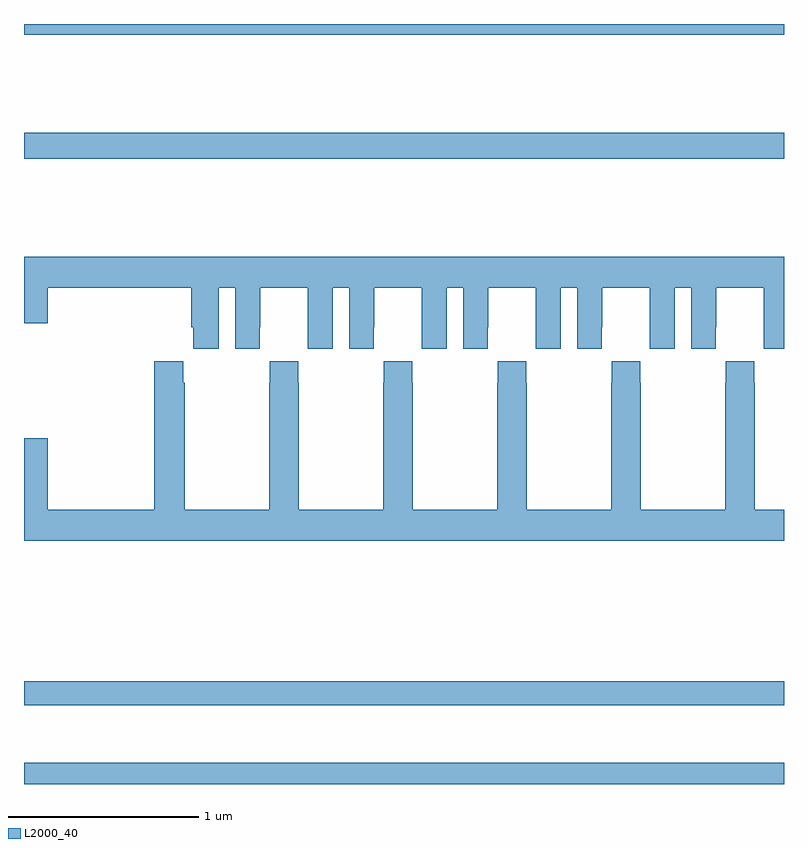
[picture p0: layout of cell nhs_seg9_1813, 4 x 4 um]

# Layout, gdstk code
import gdstk
lib = gdstk.Library(unit=1e-6, precision=1e-09)
def R(c, l, rs):  # rectangles x0, y0, x1, y1
    for r in rs: c.add(gdstk.rectangle(r[:2], r[2:], *l))
def P(c, l, *ps):  # polygons
    for p in ps: c.add(gdstk.Polygon(p, *l))
L2000_40 = (2000, 40)

nhs_seg9_1813 = lib.new_cell('nhs_seg9_1813')
R(nhs_seg9_1813, L2000_40, [(213,1168.5,217,1168.612), (213,1168.914,217,1169.042), (213,1171.792,217,1171.928), (213,1172.444,217,1172.5)])
P(nhs_seg9_1813, L2000_40, [(213,1170.924),(213.124,1170.924),(213.124,1171.112),(213.881,1171.112),(213.881,1170.904),(213.89,1170.904),(213.89,1170.792),(214.024,1170.792),(214.024,1171.112),(214.112,1171.112),(214.112,1170.792),(214.242,1170.792),(214.242,1170.904),(214.243,1170.904),(214.243,1171.112),(214.493,1171.112),(214.493,1170.904),(214.494,1170.904),(214.494,1170.792),(214.624,1170.792),(214.624,1171.112),(214.712,1171.112),(214.712,1170.792),(214.842,1170.792),(214.842,1170.904),(214.843,1170.904),(214.843,1171.112),(215.093,1171.112),(215.093,1170.904),(215.094,1170.904),(215.094,1170.792),(215.224,1170.792),(215.224,1171.112),(215.312,1171.112),(215.312,1170.792),(215.442,1170.792),(215.442,1170.904),(215.443,1170.904),(215.443,1171.112),(215.693,1171.112),(215.693,1170.904),(215.694,1170.904),(215.694,1170.792),(215.824,1170.792),(215.824,1171.112),(215.912,1171.112),(215.912,1170.792),(216.042,1170.792),(216.042,1170.904),(216.043,1170.904),(216.043,1171.112),(216.293,1171.112),(216.293,1170.904),(216.294,1170.904),(216.294,1170.792),(216.424,1170.792),(216.424,1171.112),(216.512,1171.112),(216.512,1170.792),(216.642,1170.792),(216.642,1170.904),(216.643,1170.904),(216.643,1171.112),(216.893,1171.112),(216.893,1170.904),(216.894,1170.904),(216.894,1170.792),(217,1170.792),(217,1171.276),(213,1171.276)],
  [(217,1169.944),(216.846,1169.944),(216.846,1170.611),(216.843,1170.611),(216.843,1170.724),(216.693,1170.724),(216.693,1170.611),(216.691,1170.611),(216.691,1169.944),(216.246,1169.944),(216.246,1170.611),(216.243,1170.611),(216.243,1170.724),(216.093,1170.724),(216.093,1170.611),(216.091,1170.611),(216.091,1169.944),(215.646,1169.944),(215.646,1170.611),(215.643,1170.611),(215.643,1170.724),(215.493,1170.724),(215.493,1170.611),(215.491,1170.611),(215.491,1169.944),(215.046,1169.944),(215.046,1170.611),(215.043,1170.611),(215.043,1170.724),(214.893,1170.724),(214.893,1170.611),(214.891,1170.611),(214.891,1169.944),(214.446,1169.944),(214.446,1170.611),(214.443,1170.611),(214.443,1170.724),(214.293,1170.724),(214.293,1170.611),(214.291,1170.611),(214.291,1169.944),(213.846,1169.944),(213.846,1170.611),(213.839,1170.611),(213.839,1170.724),(213.686,1170.724),(213.686,1169.944),(213.124,1169.944),(213.124,1170.319),(213,1170.319),(213,1169.78),(217,1169.78)])

lib.write_gds('nhs_seg9_1813.gds')
